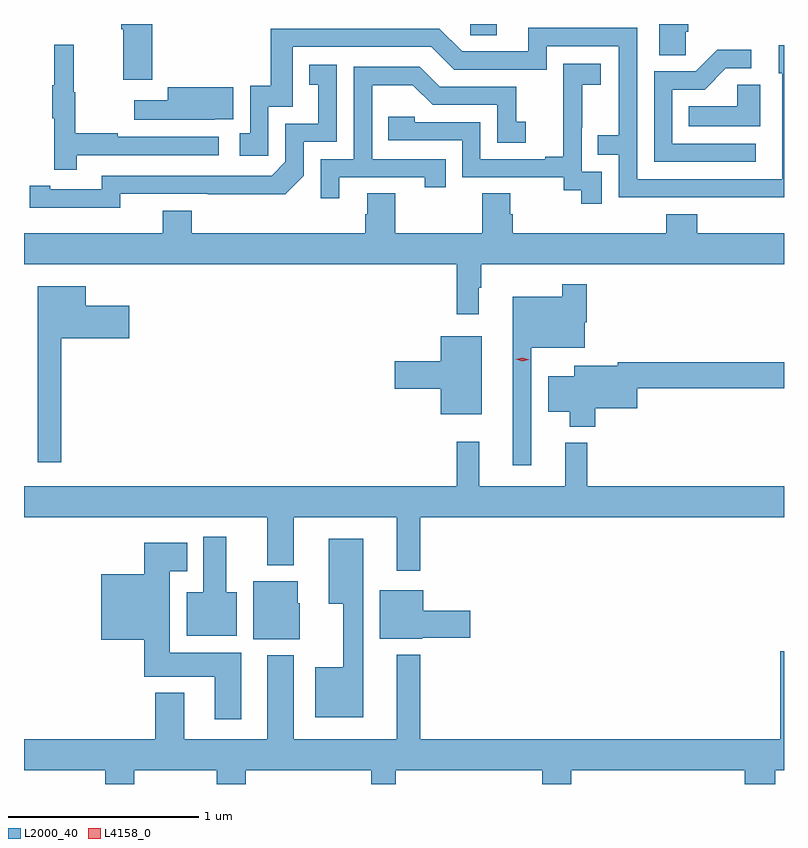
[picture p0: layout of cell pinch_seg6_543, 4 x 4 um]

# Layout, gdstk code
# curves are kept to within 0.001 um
import gdstk
lib = gdstk.Library(unit=1e-6, precision=1e-09)
def R(c, l, rs):  # rectangles x0, y0, x1, y1
    for r in rs: c.add(gdstk.rectangle(r[:2], r[2:], *l))
def P(c, l, *ps):  # polygons
    for p in ps: c.add(gdstk.Polygon(p, *l))
L2000_40 = (2000, 40)
L4158_0 = (4158, 0)

pinch_seg6_543 = lib.new_cell('pinch_seg6_543')
R(pinch_seg6_543, L2000_40, [(569.994,984.505,570.133,984.564)])
P(pinch_seg6_543, L2000_40, [(571.128,984.523),(571.142,984.523),(571.142,984.564),(570.989,984.564),(570.989,984.4),(571.128,984.4)],
  [(568.322,984.564),(568.157,984.564),(568.157,984.536),(568.169,984.536),(568.169,984.27),(568.322,984.27)],
  [(571.646,984.451),(571.619,984.451),(571.619,984.306),(571.638,984.306),(571.638,983.748),(570.873,983.748),(570.873,984.543),(570.299,984.543),(570.299,984.42),(569.952,984.42),(569.832,984.54),(568.945,984.54),(568.945,984.238),(568.836,984.238),(568.836,983.99),(568.782,983.99),(568.782,983.871),(568.932,983.871),(568.932,984.129),(569.061,984.129),(569.061,984.444),(569.79,984.444),(569.91,984.324),(570.396,984.324),(570.396,984.447),(570.777,984.447),(570.777,983.978),(570.667,983.978),(570.667,983.877),(570.777,983.877),(570.777,983.652),(571.646,983.651)],
  [(567.923,983.874),(568.672,983.874),(568.672,983.97),(568.139,983.97),(568.139,983.99),(567.916,983.99),(567.916,984.204),(567.908,984.204),(567.908,984.454),(567.806,984.454),(567.806,984.241),(567.795,984.241),(567.795,984.067),(567.806,984.067),(567.806,983.796),(567.923,983.796)],
  [(571.498,983.934),(571.059,983.934),(571.059,984.219),(571.228,984.219),(571.339,984.33),(571.474,984.33),(571.474,984.428),(571.295,984.428),(571.182,984.315),(570.963,984.315),(570.963,983.838),(571.498,983.838)],
  [(570.687,983.787),(570.582,983.787),(570.582,984.017),(570.584,984.017),(570.584,984.245),(570.682,984.245),(570.682,984.355),(570.484,984.355),(570.484,984.149),(570.485,984.149),(570.485,983.866),(570.389,983.866),(570.389,983.853),(570.048,983.853),(570.048,984.048),(569.703,984.048),(569.703,984.075),(569.563,984.075),(569.563,983.952),(569.952,983.952),(569.952,983.757),(570.486,983.757),(570.486,983.689),(570.579,983.689),(570.579,983.619),(570.687,983.619)],
  [(568.152,983.67),(569.02,983.669),(569.118,983.766),(569.118,983.943),(569.292,983.943),(569.292,984.349),(569.146,984.349),(569.146,984.243),(569.195,984.243),(569.195,984.039),(569.022,984.039),(569.022,983.838),(568.95,983.766),(568.056,983.766),(568.056,983.694),(567.784,983.694),(567.784,983.714),(567.676,983.714),(567.676,983.598),(568.152,983.597)],
  [(569.305,983.757),(569.756,983.757),(569.756,983.706),(569.867,983.706),(569.867,983.853),(569.478,983.853),(569.478,984.242),(569.692,984.242),(569.796,984.138),(570.138,984.138),(570.138,983.94),(570.286,983.94),(570.286,984.049),(570.237,984.049),(570.237,984.234),(569.833,984.234),(569.728,984.339),(569.382,984.339),(569.382,983.853),(569.208,983.853),(569.208,983.646),(569.305,983.646)],
  [(571.522,984.245),(571.401,984.245),(571.401,984.13),(571.144,984.13),(571.144,984.026),(571.522,984.026)],
  [(568.65,984.063),(568.746,984.063),(568.746,984.232),(568.403,984.232),(568.403,984.163),(568.227,984.163),(568.227,984.059),(568.65,984.059)],
  [(570.04,983.177),(570.052,983.177),(570.052,983.3),(571.646,983.3),(571.646,983.464),(571.19,983.464),(571.19,983.563),(571.025,983.563),(571.025,983.464),(570.218,983.464),(570.218,983.562),(570.205,983.562),(570.205,983.672),(570.058,983.672),(570.058,983.464),(569.601,983.464),(569.601,983.672),(569.453,983.672),(569.453,983.562),(569.441,983.562),(569.441,983.464),(568.529,983.464),(568.529,983.581),(568.376,983.581),(568.376,983.464),(567.646,983.464),(567.646,983.3),(569.923,983.3),(569.923,983.037),(570.04,983.037)],
  [(570.315,982.859),(570.598,982.859),(570.598,982.995),(570.608,982.995),(570.608,983.194),(570.48,983.194),(570.48,983.128),(570.218,983.128),(570.218,982.242),(570.315,982.242)],
  [(567.841,982.91),(568.201,982.91),(568.201,983.08),(567.97,983.08),(567.97,983.185),(567.719,983.185),(567.719,982.257),(567.841,982.257)],
  [(570.055,982.921),(569.84,982.921),(569.84,982.79),(569.598,982.79),(569.598,982.643),(569.84,982.643),(569.84,982.511),(570.055,982.511)],
  [(570.653,982.541),(570.874,982.541),(570.874,982.648),(571.646,982.648),(571.646,982.784),(570.77,982.784),(570.77,982.765),(570.542,982.765),(570.542,982.711),(570.404,982.711),(570.404,982.523),(570.518,982.523),(570.518,982.445),(570.653,982.445)],
  [(569.731,981.968),(571.646,981.968),(571.646,982.132),(570.611,982.132),(570.611,982.36),(570.494,982.36),(570.494,982.132),(570.041,982.132),(570.041,982.366),(569.923,982.366),(569.923,982.132),(567.646,982.132),(567.646,981.968),(568.925,981.968),(568.925,981.716),(569.065,981.716),(569.065,981.968),(569.609,981.968),(569.609,981.687),(569.731,981.687)],
  [(568.765,981.574),(568.711,981.574),(568.711,981.865),(568.589,981.865),(568.589,981.574),(568.502,981.574),(568.502,981.344),(568.765,981.344)],
  [(569.431,981.856),(569.249,981.856),(569.249,981.512),(569.327,981.512),(569.327,981.178),(569.18,981.178),(569.18,980.915),(569.431,980.915)],
  [(568.789,981.256),(568.414,981.256),(568.414,981.683),(568.504,981.683),(568.504,981.835),(568.28,981.835),(568.28,981.667),(568.052,981.667),(568.052,981.323),(568.28,981.323),(568.28,981.128),(568.649,981.128),(568.649,980.904),(568.789,980.904)],
  [(569.098,981.516),(569.086,981.516),(569.086,981.631),(568.853,981.631),(568.853,981.326),(569.098,981.326)],
  [(569.742,981.335),(569.995,981.335),(569.995,981.477),(569.746,981.477),(569.746,981.583),(569.519,981.583),(569.519,981.329),(569.742,981.329)],
  [(568.225,980.636),(568.661,980.636),(568.661,980.564),(568.814,980.564),(568.814,980.636),(569.473,980.636),(569.473,980.564),(569.603,980.564),(569.603,980.636),(570.374,980.636),(570.374,980.564),(570.527,980.564),(570.527,980.636),(571.439,980.636),(571.439,980.564),(571.599,980.564),(571.599,980.636),(571.646,980.636),(571.646,981.262),(571.625,981.262),(571.625,980.8),(569.731,980.8),(569.731,981.244),(569.609,981.244),(569.609,980.8),(569.065,980.8),(569.065,981.241),(568.925,981.241),(568.925,980.8),(568.489,980.8),(568.489,981.043),(568.337,981.043),(568.337,980.8),(567.646,980.8),(567.646,980.636),(568.073,980.636),(568.073,980.564),(568.225,980.564)])
P(pinch_seg6_543, L4158_0, [(570.269,982.788),(570.234,982.799),(570.233,982.8),(570.234,982.8),(570.27,982.808),(570.305,982.796),(570.305,982.796),(570.305,982.796)])

lib.write_gds('pinch_seg6_543.gds')
